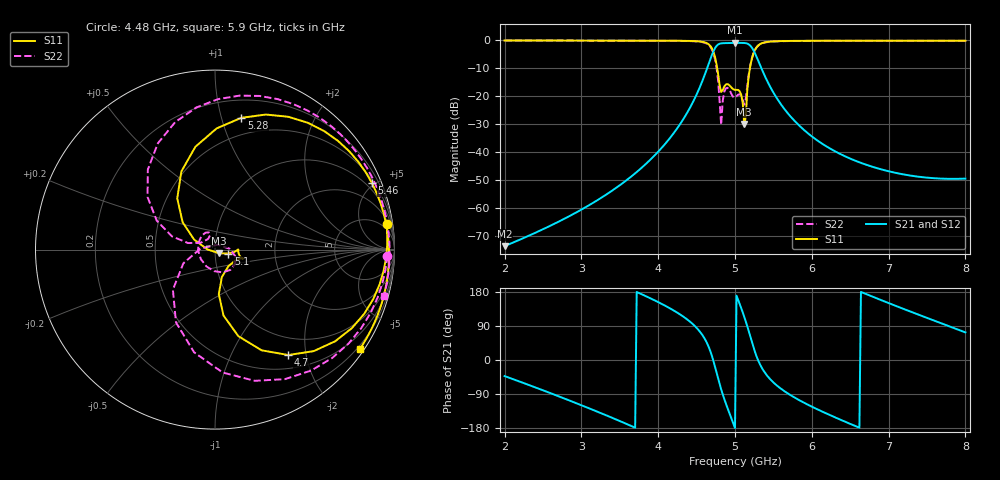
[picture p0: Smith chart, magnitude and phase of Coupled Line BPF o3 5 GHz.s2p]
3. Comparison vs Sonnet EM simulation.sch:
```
<Qucs Schematic 25.2.0>
<Properties>
  <View=-502,-161,2018,1284,0.591668,0,0>
  <Grid=10,10,1>
  <DataSet=3. Comparison vs Sonnet EM simulation.dat>
  <DataDisplay=3. Comparison vs Sonnet EM simulation.dpl>
  <OpenDisplay=0>
  <Script=SteppedLPF_o5_2GHz.m>
  <RunScript=0>
  <showFrame=3>
  <FrameText0=QW Line Coupled BPF fc >
  <FrameText1=Drawn By: Andrés Martínez Mera>
  <FrameText2=Date: 28/03/24>
  <FrameText3=Revision:>
</Properties>
<Symbol>
  <.ID -20 -16 SUB>
  <Line -20 20 40 0 #000080 2 1>
  <Line 20 20 0 -40 #000080 2 1>
  <Line -20 -20 40 0 #000080 2 1>
  <Line -20 20 0 -40 #000080 2 1>
</Symbol>
<Components>
  <GND * 1 280 220 0 0 0 0>
  <Pac P3 1 280 190 18 -26 0 1 "3" 1 "50 Ohm" 1 "0 dBm" 0 "1 GHz" 0 "26.85" 0 "true" 0>
  <GND * 1 550 220 0 0 0 0>
  <Pac P4 1 550 190 18 -26 0 1 "4" 1 "50 Ohm" 1 "0 dBm" 0 "1 GHz" 0 "26.85" 0 "true" 0>
  <GND * 1 410 150 0 0 0 0>
  <Eqn Eqn3 1 403 242 -28 15 0 0 "S21_dB_Sonnet=dB(S[4,3])" 1 "S11_dB_Sonnet=dB(S[3,3])" 1 "yes" 0>
  <Pac P5 1 750 720 18 -26 0 1 "2" 1 "50 Ohm" 1 "0 dBm" 0 "1 GHz" 0 "26.85" 0 "true" 0>
  <GND * 1 750 750 0 0 0 0>
  <.SP SP1 1 170 700 0 56 0 0 "lin" 1 "4.25GHz" 1 "5.75GHz" 1 "300" 1 "no" 0 "1" 0 "2" 0 "no" 0 "no" 0>
  <SUBST RO4003C 1 410 740 -30 24 0 0 "3.55" 1 "508um" 1 "32um" 1 "0" 1 "1e-10" 1 "0" 1>
  <Pac P6 1 90 590 18 -26 0 1 "1" 1 "50 Ohm" 1 "0 dBm" 0 "1 GHz" 0 "26.85" 0 "true" 0>
  <GND * 1 90 620 0 0 0 0>
  <MOPEN MS1 1 160 480 -39 14 1 2 "RO4003C" 0 "W1" 1 "Hammerstad" 0 "Kirschning" 0 "Kirschning" 0>
  <MOPEN MS2 1 280 420 -28 -53 1 0 "RO4003C" 0 "W1" 1 "Hammerstad" 0 "Kirschning" 0 "Kirschning" 0>
  <MOPEN MS3 1 430 480 -25 -49 1 0 "RO4003C" 0 "W2" 1 "Hammerstad" 0 "Kirschning" 0 "Kirschning" 0>
  <MOPEN MS4 1 580 540 -29 -51 1 0 "RO4003C" 0 "W2" 1 "Hammerstad" 0 "Kirschning" 0 "Kirschning" 0>
  <MOPEN MS5 1 730 600 -22 -53 1 0 "RO4003C" 0 "W1" 1 "Hammerstad" 0 "Kirschning" 0 "Kirschning" 0>
  <MCOUPLED MS6 1 670 630 -26 37 0 0 "RO4003C" 0 "W1" 1 "L1" 1 "S1" 1 "Kirschning" 0 "Kirschning" 0 "26.85" 0 "DC" 0>
  <MOPEN MS7 1 610 660 -41 10 1 2 "RO4003C" 0 "W1" 1 "Hammerstad" 0 "Kirschning" 0 "Kirschning" 0>
  <MCOUPLED MS8 1 520 570 -26 37 0 0 "RO4003C" 0 "W2" 1 "L2" 1 "S2" 1 "Kirschning" 0 "Kirschning" 0 "26.85" 0 "DC" 0>
  <MOPEN MS9 1 460 600 -53 9 1 2 "RO4003C" 0 "W2" 1 "Hammerstad" 0 "Kirschning" 0 "Kirschning" 0>
  <MCOUPLED MS10 1 370 510 -26 37 0 0 "RO4003C" 0 "W2" 1 "L2" 1 "S2" 1 "Kirschning" 0 "Kirschning" 0 "26.85" 0 "DC" 0>
  <MOPEN MS11 1 310 540 -39 15 1 2 "RO4003C" 0 "W2" 1 "Hammerstad" 0 "Kirschning" 0 "Kirschning" 0>
  <MCOUPLED MS12 1 220 450 -26 37 0 0 "RO4003C" 0 "W1" 1 "L1" 1 "S1" 1 "Kirschning" 0 "Kirschning" 0 "26.85" 0 "DC" 0>
  <SPfile X1 1 410 120 -26 -57 0 0 "Coupled Line BPF o3 5 GHz.s2p" 1 "rectangular" 0 "linear" 0 "open" 0 "2" 0>
  <Eqn Eqn5 1 720 820 -31 16 0 0 "L1=8.93m" 1 "yes" 0>
  <Eqn Eqn6 1 720 910 -31 16 0 0 "L2=8.78m" 1 "yes" 0>
  <Eqn Eqn7 1 830 820 -31 16 0 0 "S1=103.000u" 1 "yes" 0>
  <Eqn Eqn8 1 830 910 -31 16 0 0 "S2=510u" 1 "yes" 0>
  <Eqn Eqn9 1 930 820 -31 16 0 0 "W1=760u" 1 "yes" 0>
  <Eqn Eqn10 1 930 910 -31 16 0 0 "W2=1.08m" 1 "yes" 0>
  <Eqn Eqn4 1 550 800 -28 15 0 0 "S21_dB_MS=dB(S[2,1])" 1 "S11_dB_MS=dB(S[1,1])" 1 "yes" 0>
</Components>
<Wires>
  <440 120 550 120 "" 0 0 0 "">
  <550 120 550 160 "" 0 0 0 "">
  <280 120 280 160 "" 0 0 0 "">
  <280 120 380 120 "" 0 0 0 "">
  <750 660 750 690 "" 0 0 0 "">
  <700 660 750 660 "" 0 0 0 "">
  <550 600 640 600 "" 0 0 0 "">
  <400 540 490 540 "" 0 0 0 "">
  <250 480 340 480 "" 0 0 0 "">
  <90 420 90 560 "" 0 0 0 "">
  <90 420 190 420 "" 0 0 0 "">
</Wires>
<Diagrams>
  <Rect 870 495 429 295 3 #c0c0c0 1 00 1 -1 0.2 1 0 -50 5 0 1 -1 0.5 1 315 0 225 1 0 0 "" "" "">
	<"S11_dB_MS" #0000ff 0 3 0 0 0>
	<"S21_dB_MS" #ff0000 0 3 0 0 0>
	<"S11_dB_Sonnet" #0000ff 2 3 0 2 0>
	<"S21_dB_Sonnet" #ff0000 2 3 0 2 0>
  </Rect>
</Diagrams>
<Paintings>
  <Text 170 890 12 #000000 0 "Coupled-line bandpass filter \n Chebyshev 4.75GHz...5.25GHz \n Impedance matching 50 Ohm">
  <Text 1150 380 12 #000000 0 "Sonnet EM simulation">
  <Line 1250 260 -20 20 #000000 1 1>
  <Line 1220 380 -10 -80 #000000 1 1>
  <Text 1200 220 12 #000000 0 "Qucs-S MS models">
</Paintings>
```
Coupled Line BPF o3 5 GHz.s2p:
! Sonnet Data File
! From: sonnet Version : 18.53-Lite
! From Emgraph Data:
! Data File Written: 03/28/2024 18:11:55
!< HDATE 03/28/2024 17:47:38
!< MDATE 03/28/2024 17:47:38
!< PARAMS
!< W1 = 0.76
!< L1 = 8.93
!< L2 = 8.78
!< W2 = 1.09
!< END PARAMS
# GHZ S MA R 50.00000
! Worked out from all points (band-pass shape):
!   301 points, 2 GHz to 8 GHz, reference 50 ohm
!   highest |S21| = -0.90 dB at 5 GHz (marker M1); lowest = -73.7 dB at 2 GHz (marker M2)
!   |S21| within 3 dB of the highest: 4.72 GHz to 5.247 GHz (526.8 MHz wide, 10.6 % of centre)
!   lowest |S11| = -29.9 dB at 5.12 GHz (marker M3), VSWR 1.07, Z = 52.4 - j2.2 ohm
!   |S11| at or under -10 dB: 4.768 GHz to 5.194 GHz (426.4 MHz wide, 8.56 % of centre)
!   |S22| runs from -30.3 to -0.1 dB; largest |S21 - S12| = 1e-13
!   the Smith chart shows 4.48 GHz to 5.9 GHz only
!   S11 on the Smith chart (normalised r, x): 4.48 GHz: 3, +13; 4.7 GHz: 0.70, -1.69; 5.1 GHz: 1.16, -0.05; 5.28 GHz: 0.35, +1.16; 5.46 GHz: 0.64, +4.86; 5.9 GHz: 0.12, -3.20
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2  0.9942 -132.5  0.0002074 -42.5  0.0002074 -42.5  0.9942 -131.5
3.62  0.9878 100.5  0.003399 -171.5  0.003399 -171.5  0.987 100.5
4.48  0.9673 8.6  0.09374 89.1  0.09374 89.1  0.9604 -2.1
4.7  0.7155 -55.2  0.5498 10.4  0.5498 10.4  0.6861 -86.4
5  0.1298 -3.5  0.9017 -179.4  0.9017 -179.4  0.0938 -176.0
5.1  0.0773 -16.5  0.898 126.1  0.898 126.1  0.08629 107.3
5.12  0.03181 -41.2  0.8955 114.4  0.8955 114.4  0.07039 123.2
5.28  0.7486 78.7  0.5095 9.9  0.5095 9.9  0.7438 107.4
5.46  0.95 22.9  0.1456 -51.1  0.1456 -51.1  0.9442 47.0
5.9  0.9788 -34.6  0.02478 -112.9  0.02478 -112.9  0.9762 -15.5
8  0.981 153.4  0.003356 72.8  0.003356 72.8  0.9803 171.6
